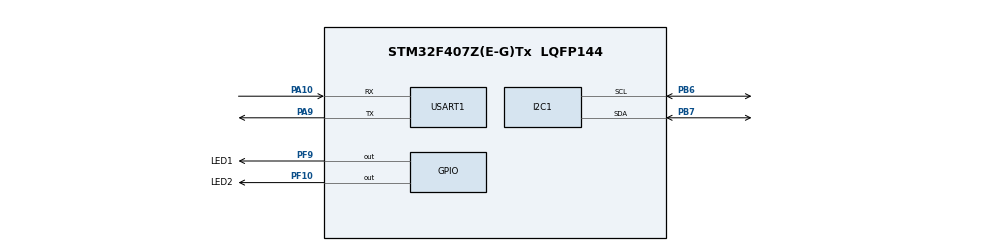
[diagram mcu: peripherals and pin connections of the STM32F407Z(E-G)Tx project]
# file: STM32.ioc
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I2C1.I2C_Mode=I2C_Fast
Mcu.Family=STM32F4
Mcu.Name=STM32F407Z(E-G)Tx
Mcu.Package=LQFP144
NVIC.PriorityGroup=NVIC_PRIORITYGROUP_4
NVIC.TIM2_IRQn=true\:15\:0\:false\:false\:true\:false\:true\:true
NVIC.TimeBase=TIM2_IRQn
NVIC.TimeBaseIP=TIM2
PA10.Mode=Asynchronous
PA10.Signal=USART1_RX
PA9.Mode=Asynchronous
PA9.Signal=USART1_TX
PB6.Mode=I2C
PB6.Signal=I2C1_SCL
PB7.Mode=I2C
PB7.Signal=I2C1_SDA
PF10.GPIO_Label=LED2
PF10.Signal=GPIO_Output
PF9.GPIO_Label=LED1
PF9.Signal=GPIO_Output
ProjectManager.HeapSize=0x200
ProjectManager.StackSize=0x400
ProjectManager.TargetToolchain=STM32CubeIDE
RCC.48MHZClocksFreq_Value=84000000
RCC.AHBFreq_Value=168000000
RCC.APB1CLKDivider=RCC_HCLK_DIV4
RCC.APB1Freq_Value=42000000
RCC.APB1TimFreq_Value=84000000
RCC.APB2CLKDivider=RCC_HCLK_DIV2
RCC.APB2Freq_Value=84000000
RCC.APB2TimFreq_Value=168000000
RCC.CortexFreq_Value=168000000
RCC.HCLKFreq_Value=168000000
RCC.HSE_VALUE=25000000
RCC.HSI_VALUE=16000000
RCC.LSE_VALUE=32768
RCC.PLLM=8
RCC.PLLN=168
RCC.SYSCLKFreq_VALUE=168000000
RCC.SYSCLKSource=RCC_SYSCLKSOURCE_PLLCLK
RCC.VCOOutputFreq_Value=336000000
USART1.VirtualMode=VM_ASYNC
VP_SYS_VS_tim2.Mode=TIM2
board=custom

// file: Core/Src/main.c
/* USER CODE BEGIN Header */
/**
 ******************************************************************************
 * @file           : main.c
 * @brief          : Main program body
 ******************************************************************************
 * @attention
 *
 * Copyright (c) 2024 STMicroelectronics.
 * All rights reserved.
 *
 * This software is licensed under terms that can be found in the LICENSE file
 * in the root directory of this software component.
 * If no LICENSE file comes with this software, it is provided AS-IS.
 *
 ******************************************************************************
 */
/* USER CODE END Header */
#include "main.h"

/* USER CODE BEGIN Includes */
#include <stdint.h>
#include <stdio.h>

#include "oled_iic.h"
#include "oled_iic_font.h"
#include "oled_iic_func.h"
#include "stm32f407xx.h"
#include "stm32f4xx_hal.h"
#include "stm32f4xx_ll_gpio.h"
#include "stm32f4xx_ll_usart.h"
#include "tx_api.h"

/* USER CODE END Includes */

I2C_HandleTypeDef hi2c1;

void SystemClock_Config(void);
static void MX_GPIO_Init(void);
static void MX_USART1_UART_Init(void);
static void MX_I2C1_Init(void);

/* USER CODE BEGIN 0 */

#define APP1_PRIO 15u  // 优先级，越大越不优先
#define APP1_STACKSIZE 1024  // 堆栈大小，注意大于cubemx内设置的最低大小
static uint8_t app1_STACK[APP1_STACKSIZE];  // 堆栈
static uint8_t app2_STACK[APP1_STACKSIZE];  // 堆栈
static uint8_t app4_STACK[APP1_STACKSIZE];  // 堆栈
TX_THREAD thread1, thread2, thread4;
TX_SEMAPHORE sem;

void Led1Blink(ULONG arg) {
  while (1) {
    LL_GPIO_TogglePin(LED1_GPIO_Port, LED1_Pin);
    tx_thread_sleep(500);
    tx_semaphore_put(&sem);
    tx_thread_sleep(100);
  }
}

void Led2Blink(ULONG arg) {
  while (1) {
    tx_semaphore_get(&sem, TX_WAIT_FOREVER);
    LL_GPIO_TogglePin(LED2_GPIO_Port, LED2_Pin);
    tx_thread_sleep(500);
  }
}

void SpiTask(ULONG arg) {
  while (1) {
    tx_thread_sleep(500);
    // OLED_SetPixel(64, 32, 1);
    // OLED_SetPixel(32, 64, 1);
  }
}

void tx_application_define(void *first_unused_memory) {
  tx_semaphore_create(&sem, "sem", 1);
  tx_thread_create(&thread1, "Led1Blink", Led1Blink, 0, &app1_STACK[0],
                   APP1_STACKSIZE, APP1_PRIO, APP1_PRIO, TX_NO_TIME_SLICE,
                   TX_AUTO_START);
  tx_thread_create(&thread2, "Led2Blink", Led2Blink, 0, &app2_STACK[0],
                   APP1_STACKSIZE, APP1_PRIO, APP1_PRIO, TX_NO_TIME_SLICE,
                   TX_AUTO_START);
  tx_thread_create(&thread4, "SpiTask", SpiTask, 0, &app4_STACK[0],
                   APP1_STACKSIZE, APP1_PRIO, APP1_PRIO, TX_NO_TIME_SLICE,
                   TX_AUTO_START);
}

/* USER CODE END 0 */

int main(void) {

  /* MCU Configuration--------------------------------------------------------*/

  /* Reset of all peripherals, Initializes the Flash interface and the Systick.
   */
  HAL_Init();

  /* Configure the system clock */
  SystemClock_Config();

  /* Initialize all configured peripherals */
  MX_GPIO_Init();
  MX_USART1_UART_Init();
  MX_I2C1_Init();
  /* USER CODE BEGIN 2 */
  // HAL_GPIO_WritePin(LED1_GPIO_Port, LED1_Pin, GPIO_PIN_RESET);
  // HAL_GPIO_WritePin(LED2_GPIO_Port, LED2_Pin, GPIO_PIN_SET);
  LL_GPIO_SetOutputPin(LED1_GPIO_Port, LED1_Pin);
  LL_GPIO_ResetOutputPin(LED2_GPIO_Port, LED2_Pin);

  HAL_Delay(1000);

  OLED_Init();

  OLED_ShowStr(0, 0, "Deutschland", 1);
  OLED_ShowStr(0, 16, "Bayern", 1);
  OLED_ShowStr(0, 26, "Munich", 1);
  OLED_ShowStr(0, 36, "Berlin", 1);
  OLED_HorizontalShift(0, 7, RIGHT);

  tx_kernel_enter();
  /* USER CODE END 2 */

  /* Infinite loop */
  while (1) {

  }
}

void SystemClock_Config(void) {
  LL_FLASH_SetLatency(LL_FLASH_LATENCY_5);
  while (LL_FLASH_GetLatency() != LL_FLASH_LATENCY_5) {
  }
  LL_PWR_SetRegulVoltageScaling(LL_PWR_REGU_VOLTAGE_SCALE1);
  LL_RCC_HSI_SetCalibTrimming(16);
  LL_RCC_HSI_Enable();

  /* Wait till HSI is ready */
  while (LL_RCC_HSI_IsReady() != 1) {
  }
  LL_RCC_PLL_ConfigDomain_SYS(LL_RCC_PLLSOURCE_HSI, LL_RCC_PLLM_DIV_8, 168,
                              LL_RCC_PLLP_DIV_2);
  LL_RCC_PLL_Enable();

  /* Wait till PLL is ready */
  while (LL_RCC_PLL_IsReady() != 1) {
  }
  while (LL_PWR_IsActiveFlag_VOS() == 0) {
  }
  LL_RCC_SetAHBPrescaler(LL_RCC_SYSCLK_DIV_1);
  LL_RCC_SetAPB1Prescaler(LL_RCC_APB1_DIV_4);
  LL_RCC_SetAPB2Prescaler(LL_RCC_APB2_DIV_2);
  LL_RCC_SetSysClkSource(LL_RCC_SYS_CLKSOURCE_PLL);

  /* Wait till System clock is ready */
  while (LL_RCC_GetSysClkSource() != LL_RCC_SYS_CLKSOURCE_STATUS_PLL) {
  }
  LL_SetSystemCoreClock(168000000);

  /* Update the time base */
  if (HAL_InitTick(TICK_INT_PRIORITY) != HAL_OK) {
    Error_Handler();
  }
}

static void MX_I2C1_Init(void) {

  hi2c1.Instance = I2C1;
  hi2c1.Init.ClockSpeed = 400000;
  hi2c1.Init.DutyCycle = I2C_DUTYCYCLE_2;
  hi2c1.Init.OwnAddress1 = 0;
  hi2c1.Init.AddressingMode = I2C_ADDRESSINGMODE_7BIT;
  hi2c1.Init.DualAddressMode = I2C_DUALADDRESS_DISABLE;
  hi2c1.Init.OwnAddress2 = 0;
  hi2c1.Init.GeneralCallMode = I2C_GENERALCALL_DISABLE;
  hi2c1.Init.NoStretchMode = I2C_NOSTRETCH_DISABLE;
  if (HAL_I2C_Init(&hi2c1) != HAL_OK) {
    Error_Handler();
  }
}

static void MX_USART1_UART_Init(void) {

  LL_USART_InitTypeDef USART_InitStruct = {0};

  LL_GPIO_InitTypeDef GPIO_InitStruct = {0};

  /* Peripheral clock enable */
  LL_APB2_GRP1_EnableClock(LL_APB2_GRP1_PERIPH_USART1);

  LL_AHB1_GRP1_EnableClock(LL_AHB1_GRP1_PERIPH_GPIOA);
  /**USART1 GPIO Configuration
  PA9   ------> USART1_TX
  PA10   ------> USART1_RX
  */
  GPIO_InitStruct.Pin = LL_GPIO_PIN_9 | LL_GPIO_PIN_10;
  GPIO_InitStruct.Mode = LL_GPIO_MODE_ALTERNATE;
  GPIO_InitStruct.Speed = LL_GPIO_SPEED_FREQ_VERY_HIGH;
  GPIO_InitStruct.OutputType = LL_GPIO_OUTPUT_PUSHPULL;
  GPIO_InitStruct.Pull = LL_GPIO_PULL_NO;
  GPIO_InitStruct.Alternate = LL_GPIO_AF_7;
  LL_GPIO_Init(GPIOA, &GPIO_InitStruct);

  USART_InitStruct.BaudRate = 115200;
  USART_InitStruct.DataWidth = LL_USART_DATAWIDTH_8B;
  USART_InitStruct.StopBits = LL_USART_STOPBITS_1;
  USART_InitStruct.Parity = LL_USART_PARITY_NONE;
  USART_InitStruct.TransferDirection = LL_USART_DIRECTION_TX_RX;
  USART_InitStruct.HardwareFlowControl = LL_USART_HWCONTROL_NONE;
  USART_InitStruct.OverSampling = LL_USART_OVERSAMPLING_16;
  LL_USART_Init(USART1, &USART_InitStruct);
  LL_USART_ConfigAsyncMode(USART1);
  LL_USART_Enable(USART1);
}

static void MX_GPIO_Init(void) {
  GPIO_InitTypeDef GPIO_InitStruct = {0};

  /* GPIO Ports Clock Enable */
  __HAL_RCC_GPIOF_CLK_ENABLE();
  __HAL_RCC_GPIOA_CLK_ENABLE();
  __HAL_RCC_GPIOB_CLK_ENABLE();

  /*Configure GPIO pin Output Level */
  HAL_GPIO_WritePin(GPIOF, LED1_Pin | LED2_Pin, GPIO_PIN_RESET);

  /*Configure GPIO pins : LED1_Pin LED2_Pin */
  GPIO_InitStruct.Pin = LED1_Pin | LED2_Pin;
  GPIO_InitStruct.Mode = GPIO_MODE_OUTPUT_PP;
  GPIO_InitStruct.Pull = GPIO_NOPULL;
  GPIO_InitStruct.Speed = GPIO_SPEED_FREQ_LOW;
  HAL_GPIO_Init(GPIOF, &GPIO_InitStruct);

}

void HAL_TIM_PeriodElapsedCallback(TIM_HandleTypeDef *htim) {
  if (htim->Instance == TIM2) {
    HAL_IncTick();
  }
}

void Error_Handler(void) {
  __disable_irq();
  while (1) {
  }
}

#ifdef USE_FULL_ASSERT
/**
 * @brief  Reports the name of the source file and the source line number
 *         where the assert_param error has occurred.
 * @param  file: pointer to the source file name
 * @param  line: assert_param error line source number
 * @retval None
 */
void assert_failed(uint8_t *file, uint32_t line) {
  /* USER CODE BEGIN 6 */
  /* User can add his own implementation to report the file name and line
     number, ex: printf("Wrong parameters value: file %s on line %d\r\n", file,
     line) */
  /* USER CODE END 6 */
}
#endif /* USE_FULL_ASSERT */
